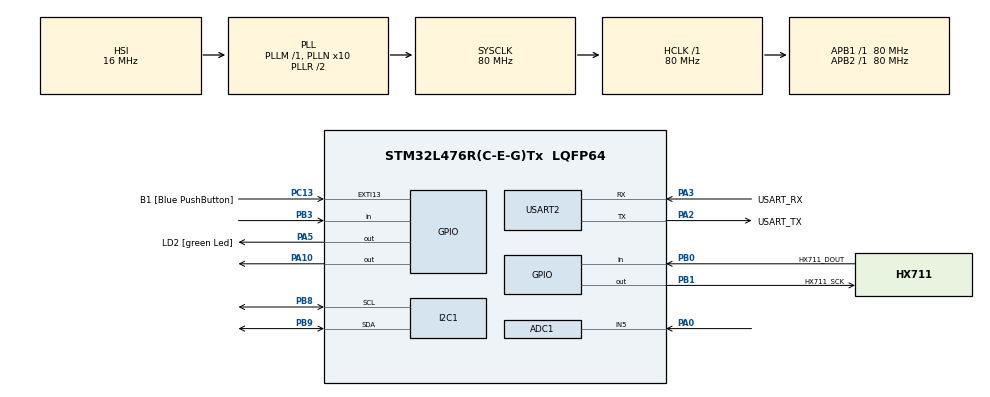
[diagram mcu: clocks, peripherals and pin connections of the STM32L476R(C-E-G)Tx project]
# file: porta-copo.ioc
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ADC1.Channel-0\#ChannelRegularConversion=ADC_CHANNEL_5
ADC1.NbrOfConversionFlag=1
ADC1.OffsetNumber-0\#ChannelRegularConversion=ADC_OFFSET_NONE
ADC1.Rank-0\#ChannelRegularConversion=1
ADC1.SamplingTime-0\#ChannelRegularConversion=ADC_SAMPLETIME_2CYCLES_5
ADC1.master=1
FREERTOS.Tasks01=defaultTask,0,128,StartDefaultTask,Default,NULL,Dynamic,NULL,NULL
I2C1.Timing=0x10D19CE4
Mcu.Family=STM32L4
Mcu.Name=STM32L476R(C-E-G)Tx
Mcu.Package=LQFP64
NVIC.PriorityGroup=NVIC_PRIORITYGROUP_4
NVIC.TIM1_UP_TIM16_IRQn=true\:15\:0\:false\:false\:true\:false\:false\:true\:true
NVIC.TimeBase=TIM1_UP_TIM16_IRQn
NVIC.TimeBaseIP=TIM1
PA0.Signal=ADCx_IN5
PA10.Signal=GPIO_Output
PA13\ (JTMS-SWDIO).GPIO_Label=TMS
PA13\ (JTMS-SWDIO).Mode=Serial_Wire
PA13\ (JTMS-SWDIO).Signal=SYS_JTMS-SWDIO
PA14\ (JTCK-SWCLK).GPIO_Label=TCK
PA14\ (JTCK-SWCLK).Mode=Serial_Wire
PA14\ (JTCK-SWCLK).Signal=SYS_JTCK-SWCLK
PA2.GPIO_Label=USART_TX
PA2.GPIO_Mode=GPIO_MODE_AF_PP
PA2.GPIO_PuPd=GPIO_NOPULL
PA2.GPIO_Speed=GPIO_SPEED_FREQ_VERY_HIGH
PA2.Mode=Asynchronous
PA2.Signal=USART2_TX
PA3.GPIO_Label=USART_RX
PA3.GPIO_Mode=GPIO_MODE_AF_PP
PA3.GPIO_PuPd=GPIO_NOPULL
PA3.GPIO_Speed=GPIO_SPEED_FREQ_VERY_HIGH
PA3.Mode=Asynchronous
PA3.Signal=USART2_RX
PA5.GPIO_Label=LD2 [green Led]
PA5.GPIO_ModeDefaultOutputPP=GPIO_MODE_OUTPUT_PP
PA5.GPIO_PuPd=GPIO_NOPULL
PA5.GPIO_Speed=GPIO_SPEED_FREQ_LOW
PA5.Signal=GPIO_Output
PB0.GPIO_Label=HX711_DOUT
PB0.Signal=GPIO_Input
PB1.GPIO_Label=HX711_SCK
PB1.Signal=GPIO_Output
PB3\ (JTDO-TRACESWO).Signal=GPIO_Input
PB8.Mode=I2C
PB8.Signal=I2C1_SCL
PB9.Mode=I2C
PB9.Signal=I2C1_SDA
PC13.GPIO_Label=B1 [Blue PushButton]
PC13.GPIO_ModeDefaultEXTI=GPIO_MODE_IT_FALLING
PC13.GPIO_PuPd=GPIO_NOPULL
PC13.Signal=GPXTI13
PC14-OSC32_IN\ (PC14).Mode=LSE-External-Oscillator
PC14-OSC32_IN\ (PC14).Signal=RCC_OSC32_IN
PC15-OSC32_OUT\ (PC15).Mode=LSE-External-Oscillator
PC15-OSC32_OUT\ (PC15).Signal=RCC_OSC32_OUT
PH0-OSC_IN\ (PH0).Signal=RCC_OSC_IN
PH1-OSC_OUT\ (PH1).Signal=RCC_OSC_OUT
ProjectManager.HeapSize=0x200
ProjectManager.StackSize=0x400
ProjectManager.TargetToolchain=STM32CubeIDE
RCC.ADCFreq_Value=64000000
RCC.AHBFreq_Value=80000000
RCC.APB1Freq_Value=80000000
RCC.APB1TimFreq_Value=80000000
RCC.APB2Freq_Value=80000000
RCC.APB2TimFreq_Value=80000000
RCC.CortexFreq_Value=80000000
RCC.HCLKFreq_Value=80000000
RCC.HSE_VALUE=8000000
RCC.HSI_VALUE=16000000
RCC.MSI_VALUE=4000000
RCC.PLLN=10
RCC.PLLSourceVirtual=RCC_PLLSOURCE_HSI
RCC.PREFETCH_ENABLE=1
RCC.SYSCLKFreq_VALUE=80000000
RCC.SYSCLKSource=RCC_SYSCLKSOURCE_PLLCLK
RCC.USBFreq_Value=64000000
RCC.VCOOutputFreq_Value=160000000
SH.ADCx_IN5.0=ADC1_IN5,IN5-Single-Ended
USART2.VirtualMode-Asynchronous=VM_ASYNC
VP_FREERTOS_VS_CMSIS_V1.Mode=CMSIS_V1
VP_SYS_VS_tim1.Mode=TIM1
VP_TIM2_VS_ClockSourceINT.Mode=Internal
board=NUCLEO-L476RG

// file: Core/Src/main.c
/* USER CODE BEGIN Header */
/**
  ******************************************************************************
  * @file           : main.c
  * @brief          : Main program body
  ******************************************************************************
  * @attention
  *
  * Copyright (c) 2025 STMicroelectronics.
  * All rights reserved.
  *
  * This software is licensed under terms that can be found in the LICENSE file
  * in the root directory of this software component.
  * If no LICENSE file comes with this software, it is provided AS-IS.
  *
  ******************************************************************************
  */
/* USER CODE END Header */
#include "main.h"
#include "cmsis_os.h"

/* USER CODE BEGIN Includes */
#include "hx711.h"
#include "liquidcrystal_i2c.h"
#include <stdio.h>
#include <string.h>

/* USER CODE END Includes */

ADC_HandleTypeDef hadc1;

I2C_HandleTypeDef hi2c1;

TIM_HandleTypeDef htim2;

UART_HandleTypeDef huart2;

osThreadId defaultTaskHandle;
/* USER CODE BEGIN PV */
unsigned char caracter;
volatile float peso;

/* USER CODE END PV */

void SystemClock_Config(void);
static void MX_GPIO_Init(void);
static void MX_USART2_UART_Init(void);
static void MX_I2C1_Init(void);
static void MX_ADC1_Init(void);
static void MX_TIM2_Init(void);
void StartDefaultTask(void const * argument);

/* USER CODE BEGIN PFP */
void lcd_write(void *argument);
void readVoltage(void *argument);
void readWeight(void *argument);
long map(long x, long in_min, long in_max, long out_min, long out_max);

/* USER CODE END PFP */

/* USER CODE BEGIN 0 */
#define SCK_PORT GPIOA
#define SCK_PIN  GPIO_PIN_10  // PA10
#define DT_PORT GPIOB
#define DT_PIN  GPIO_PIN_3    // PB3
HX711 scale;

/* USER CODE END 0 */

int main(void)
{

  /* MCU Configuration--------------------------------------------------------*/

  /* Reset of all peripherals, Initializes the Flash interface and the Systick. */
  HAL_Init();

  /* Configure the system clock */
  SystemClock_Config();

  /* Initialize all configured peripherals */
  MX_GPIO_Init();
  MX_USART2_UART_Init();
  MX_I2C1_Init();
  MX_ADC1_Init();
  MX_TIM2_Init();
  /* USER CODE BEGIN 2 */
  HD44780_Init(2);
  HD44780_Clear();
  HD44780_Backlight();
  HD44780_SetCursor(0,0);
  HD44780_PrintStr("Bem-vindo ao:");
  HD44780_SetCursor(0,1);
  HD44780_PrintStr("Door-Cup");

  /* USER CODE END 2 */

  /* Create the thread(s) */
  /* definition and creation of defaultTask */
  osThreadDef(defaultTask, StartDefaultTask, osPriorityNormal, 0, 128);
  defaultTaskHandle = osThreadCreate(osThread(defaultTask), NULL);

  /* USER CODE BEGIN RTOS_THREADS */
  /* add threads, ... */
  xTaskCreate(lcd_write, "lcd_write", configMINIMAL_STACK_SIZE, NULL, tskIDLE_PRIORITY, NULL);
  xTaskCreate(readVoltage, "readVoltage", configMINIMAL_STACK_SIZE, NULL, tskIDLE_PRIORITY, NULL);
  xTaskCreate(readWeight, "readWeight", configMINIMAL_STACK_SIZE + 120, NULL, tskIDLE_PRIORITY, NULL);

  // xTaskCreate(StartWeightTask, "WeightTask", configMINIMAL_STACK_SIZE, NULL, tskIDLE_PRIORITY, NULL);
  /* USER CODE END RTOS_THREADS */

  /* Start scheduler */
  osKernelStart();

  /* We should never get here as control is now taken by the scheduler */

  /* Infinite loop */
  while (1)
  {

  }
}

void SystemClock_Config(void)
{
  RCC_OscInitTypeDef RCC_OscInitStruct = {0};
  RCC_ClkInitTypeDef RCC_ClkInitStruct = {0};

  /** Configure the main internal regulator output voltage
  */
  if (HAL_PWREx_ControlVoltageScaling(PWR_REGULATOR_VOLTAGE_SCALE1) != HAL_OK)
  {
    Error_Handler();
  }

  /** Initializes the RCC Oscillators according to the specified parameters
  * in the RCC_OscInitTypeDef structure.
  */
  RCC_OscInitStruct.OscillatorType = RCC_OSCILLATORTYPE_HSI;
  RCC_OscInitStruct.HSIState = RCC_HSI_ON;
  RCC_OscInitStruct.HSICalibrationValue = RCC_HSICALIBRATION_DEFAULT;
  RCC_OscInitStruct.PLL.PLLState = RCC_PLL_ON;
  RCC_OscInitStruct.PLL.PLLSource = RCC_PLLSOURCE_HSI;
  RCC_OscInitStruct.PLL.PLLM = 1;
  RCC_OscInitStruct.PLL.PLLN = 10;
  RCC_OscInitStruct.PLL.PLLP = RCC_PLLP_DIV7;
  RCC_OscInitStruct.PLL.PLLQ = RCC_PLLQ_DIV2;
  RCC_OscInitStruct.PLL.PLLR = RCC_PLLR_DIV2;
  if (HAL_RCC_OscConfig(&RCC_OscInitStruct) != HAL_OK)
  {
    Error_Handler();
  }

  /** Initializes the CPU, AHB and APB buses clocks
  */
  RCC_ClkInitStruct.ClockType = RCC_CLOCKTYPE_HCLK|RCC_CLOCKTYPE_SYSCLK
                              |RCC_CLOCKTYPE_PCLK1|RCC_CLOCKTYPE_PCLK2;
  RCC_ClkInitStruct.SYSCLKSource = RCC_SYSCLKSOURCE_PLLCLK;
  RCC_ClkInitStruct.AHBCLKDivider = RCC_SYSCLK_DIV1;
  RCC_ClkInitStruct.APB1CLKDivider = RCC_HCLK_DIV1;
  RCC_ClkInitStruct.APB2CLKDivider = RCC_HCLK_DIV1;

  if (HAL_RCC_ClockConfig(&RCC_ClkInitStruct, FLASH_LATENCY_4) != HAL_OK)
  {
    Error_Handler();
  }
}

static void MX_ADC1_Init(void)
{

  ADC_MultiModeTypeDef multimode = {0};
  ADC_ChannelConfTypeDef sConfig = {0};

  /** Common config
  */
  hadc1.Instance = ADC1;
  hadc1.Init.ClockPrescaler = ADC_CLOCK_ASYNC_DIV1;
  hadc1.Init.Resolution = ADC_RESOLUTION_12B;
  hadc1.Init.DataAlign = ADC_DATAALIGN_RIGHT;
  hadc1.Init.ScanConvMode = ADC_SCAN_DISABLE;
  hadc1.Init.EOCSelection = ADC_EOC_SINGLE_CONV;
  hadc1.Init.LowPowerAutoWait = DISABLE;
  hadc1.Init.ContinuousConvMode = DISABLE;
  hadc1.Init.NbrOfConversion = 1;
  hadc1.Init.DiscontinuousConvMode = DISABLE;
  hadc1.Init.ExternalTrigConv = ADC_SOFTWARE_START;
  hadc1.Init.ExternalTrigConvEdge = ADC_EXTERNALTRIGCONVEDGE_NONE;
  hadc1.Init.DMAContinuousRequests = DISABLE;
  hadc1.Init.Overrun = ADC_OVR_DATA_PRESERVED;
  hadc1.Init.OversamplingMode = DISABLE;
  if (HAL_ADC_Init(&hadc1) != HAL_OK)
  {
    Error_Handler();
  }

  /** Configure the ADC multi-mode
  */
  multimode.Mode = ADC_MODE_INDEPENDENT;
  if (HAL_ADCEx_MultiModeConfigChannel(&hadc1, &multimode) != HAL_OK)
  {
    Error_Handler();
  }

  /** Configure Regular Channel
  */
  sConfig.Channel = ADC_CHANNEL_5;
  sConfig.Rank = ADC_REGULAR_RANK_1;
  sConfig.SamplingTime = ADC_SAMPLETIME_2CYCLES_5;
  sConfig.SingleDiff = ADC_SINGLE_ENDED;
  sConfig.OffsetNumber = ADC_OFFSET_NONE;
  sConfig.Offset = 0;
  if (HAL_ADC_ConfigChannel(&hadc1, &sConfig) != HAL_OK)
  {
    Error_Handler();
  }

}

static void MX_I2C1_Init(void)
{

  hi2c1.Instance = I2C1;
  hi2c1.Init.Timing = 0x10D19CE4;
  hi2c1.Init.OwnAddress1 = 0;
  hi2c1.Init.AddressingMode = I2C_ADDRESSINGMODE_7BIT;
  hi2c1.Init.DualAddressMode = I2C_DUALADDRESS_DISABLE;
  hi2c1.Init.OwnAddress2 = 0;
  hi2c1.Init.OwnAddress2Masks = I2C_OA2_NOMASK;
  hi2c1.Init.GeneralCallMode = I2C_GENERALCALL_DISABLE;
  hi2c1.Init.NoStretchMode = I2C_NOSTRETCH_DISABLE;
  if (HAL_I2C_Init(&hi2c1) != HAL_OK)
  {
    Error_Handler();
  }

  /** Configure Analogue filter
  */
  if (HAL_I2CEx_ConfigAnalogFilter(&hi2c1, I2C_ANALOGFILTER_ENABLE) != HAL_OK)
  {
    Error_Handler();
  }

  /** Configure Digital filter
  */
  if (HAL_I2CEx_ConfigDigitalFilter(&hi2c1, 0) != HAL_OK)
  {
    Error_Handler();
  }

}

static void MX_TIM2_Init(void)
{

  TIM_ClockConfigTypeDef sClockSourceConfig = {0};
  TIM_MasterConfigTypeDef sMasterConfig = {0};

  htim2.Instance = TIM2;
  htim2.Init.Prescaler = 0;
  htim2.Init.CounterMode = TIM_COUNTERMODE_UP;
  htim2.Init.Period = 4294967295;
  htim2.Init.ClockDivision = TIM_CLOCKDIVISION_DIV1;
  htim2.Init.AutoReloadPreload = TIM_AUTORELOAD_PRELOAD_DISABLE;
  if (HAL_TIM_Base_Init(&htim2) != HAL_OK)
  {
    Error_Handler();
  }
  sClockSourceConfig.ClockSource = TIM_CLOCKSOURCE_INTERNAL;
  if (HAL_TIM_ConfigClockSource(&htim2, &sClockSourceConfig) != HAL_OK)
  {
    Error_Handler();
  }
  sMasterConfig.MasterOutputTrigger = TIM_TRGO_RESET;
  sMasterConfig.MasterSlaveMode = TIM_MASTERSLAVEMODE_DISABLE;
  if (HAL_TIMEx_MasterConfigSynchronization(&htim2, &sMasterConfig) != HAL_OK)
  {
    Error_Handler();
  }

}

static void MX_USART2_UART_Init(void)
{

  huart2.Instance = USART2;
  huart2.Init.BaudRate = 115200;
  huart2.Init.WordLength = UART_WORDLENGTH_8B;
  huart2.Init.StopBits = UART_STOPBITS_1;
  huart2.Init.Parity = UART_PARITY_NONE;
  huart2.Init.Mode = UART_MODE_TX_RX;
  huart2.Init.HwFlowCtl = UART_HWCONTROL_NONE;
  huart2.Init.OverSampling = UART_OVERSAMPLING_16;
  huart2.Init.OneBitSampling = UART_ONE_BIT_SAMPLE_DISABLE;
  huart2.AdvancedInit.AdvFeatureInit = UART_ADVFEATURE_NO_INIT;
  if (HAL_UART_Init(&huart2) != HAL_OK)
  {
    Error_Handler();
  }

}

static void MX_GPIO_Init(void)
{
  GPIO_InitTypeDef GPIO_InitStruct = {0};

  /* GPIO Ports Clock Enable */
  __HAL_RCC_GPIOC_CLK_ENABLE();
  __HAL_RCC_GPIOH_CLK_ENABLE();
  __HAL_RCC_GPIOA_CLK_ENABLE();
  __HAL_RCC_GPIOB_CLK_ENABLE();

  /*Configure GPIO pin Output Level */
  HAL_GPIO_WritePin(GPIOA, LD2_Pin|GPIO_PIN_10, GPIO_PIN_RESET);

  /*Configure GPIO pin Output Level */
  HAL_GPIO_WritePin(HX711_SCK_GPIO_Port, HX711_SCK_Pin, GPIO_PIN_RESET);

  /*Configure GPIO pin : B1_Pin */
  GPIO_InitStruct.Pin = B1_Pin;
  GPIO_InitStruct.Mode = GPIO_MODE_IT_FALLING;
  GPIO_InitStruct.Pull = GPIO_NOPULL;
  HAL_GPIO_Init(B1_GPIO_Port, &GPIO_InitStruct);

  /*Configure GPIO pins : LD2_Pin PA10 */
  GPIO_InitStruct.Pin = LD2_Pin|GPIO_PIN_10;
  GPIO_InitStruct.Mode = GPIO_MODE_OUTPUT_PP;
  GPIO_InitStruct.Pull = GPIO_NOPULL;
  GPIO_InitStruct.Speed = GPIO_SPEED_FREQ_LOW;
  HAL_GPIO_Init(GPIOA, &GPIO_InitStruct);

  /*Configure GPIO pins : HX711_DOUT_Pin PB3 */
  GPIO_InitStruct.Pin = HX711_DOUT_Pin|GPIO_PIN_3;
  GPIO_InitStruct.Mode = GPIO_MODE_INPUT;
  GPIO_InitStruct.Pull = GPIO_PULLUP;
  HAL_GPIO_Init(GPIOB, &GPIO_InitStruct);

  /*Configure GPIO pin : HX711_SCK_Pin */
  GPIO_InitStruct.Pin = HX711_SCK_Pin;
  GPIO_InitStruct.Mode = GPIO_MODE_OUTPUT_PP;
  GPIO_InitStruct.Pull = GPIO_NOPULL;
  GPIO_InitStruct.Speed = GPIO_SPEED_FREQ_LOW;
  HAL_GPIO_Init(HX711_SCK_GPIO_Port, &GPIO_InitStruct);

}

/* USER CODE BEGIN 4 */
void lcd_write(void *argument){
	char buffer[16];
	char modo = 0; // 0 = nada, 'T' = temperatura, 'P' = peso

	while (1){
		// Verifica se recebeu algo via UART
		if (HAL_UART_Receive(&huart2, &caracter, 1, 10) == HAL_OK) {
			if (caracter == 't' || caracter == 'T') {
				modo = 'T';
				HD44780_Clear();
				HD44780_Backlight();
				HD44780_SetCursor(0,0);
				HD44780_PrintStr("Temperatura:");
			} else if (caracter == 'p' || caracter == 'P') {
				modo = 'P';

			}
		}

		if (modo == 'T') {
			int16_t valor = HAL_ADC_GetValue(&hadc1); // valor do potenciômetro
			valor = map(valor, 0, 4095, 0, 30);

			snprintf(buffer, sizeof(buffer), "%d C", valor);
			HD44780_SetCursor(0,1);
			HD44780_PrintStr("                "); // Limpa a linha antes de reescrever
			HD44780_SetCursor(0,1);
			HD44780_PrintStr(buffer);
		} else if (modo == 'P') {
			// Aqui você poderia atualizar peso se quisesse no futuro
			HD44780_Clear();
			HD44780_Backlight();
			HD44780_SetCursor(0,0);
			HD44780_PrintStr("Peso:");
			snprintf(buffer, sizeof(buffer), "%d g", (int)peso);
			HD44780_SetCursor(0,1);
			HD44780_PrintStr(buffer);
		}

		osDelay(500);; // Atualiza a cada 500ms
	}
}

void readVoltage(void *argument){
	while(1){
		HAL_ADC_Start(&hadc1);
		HAL_ADC_PollForConversion(&hadc1, HAL_MAX_DELAY);
		osDelay(50);
	}

		// HAL_UART_Transmit(&huart2, (uint32_t*)buffer, strlen(buffer), HAL_MAX_DELAY);

}

void readWeight(void *argument){
    HAL_TIM_Base_Start(&htim2);
    HAL_GPIO_WritePin(SCK_PORT, SCK_PIN, GPIO_PIN_SET);
    osDelay(10);
    HAL_GPIO_WritePin(SCK_PORT, SCK_PIN, GPIO_PIN_RESET);
    osDelay(10);

    HX711_Init(&scale, GPIOB, GPIO_PIN_3, GPIOA, GPIO_PIN_10, 128);

    // Aguarda estabilidade
    osDelay(1000);

    long leitura = HX711_ReadAverage(&scale, 20);
    printf("Leitura com peso de calibração: %ld\r\n", leitura);

    float pesoCalibracao = 800.0f; // ex: 1000g (1kg colocado)
    float fator = (float)leitura / pesoCalibracao;
    HX711_SetScale(fator);

    HX711_Tare(&scale, 20);  // agora com a balança vazia e parada

    while (1) {
        float novoPeso = HX711_GetUnits(&scale, 10);
        peso = novoPeso;
        printf("Peso: %.2f g\r\n", peso);
        osDelay(500);
    }
}

// The following makes printf() write to USART2:

int __io_putchar(int ch) {
    HAL_UART_Transmit(&huart2, (uint8_t *)&ch, 1, 10);  // timeout curto!
    return ch;
}

long map(long x, long in_min, long in_max, long out_min, long out_max) {
    return (x - in_min) * (out_max - out_min) / (in_max - in_min) + out_min;
}

/* USER CODE END 4 */

void StartDefaultTask(void const * argument)
{
  for(;;)
  {
    osDelay(1);
  }
}

void HAL_TIM_PeriodElapsedCallback(TIM_HandleTypeDef *htim)
{
  if (htim->Instance == TIM1)
  {
    HAL_IncTick();
  }
}

void Error_Handler(void)
{
  __disable_irq();
  while (1)
  {
  }
}
